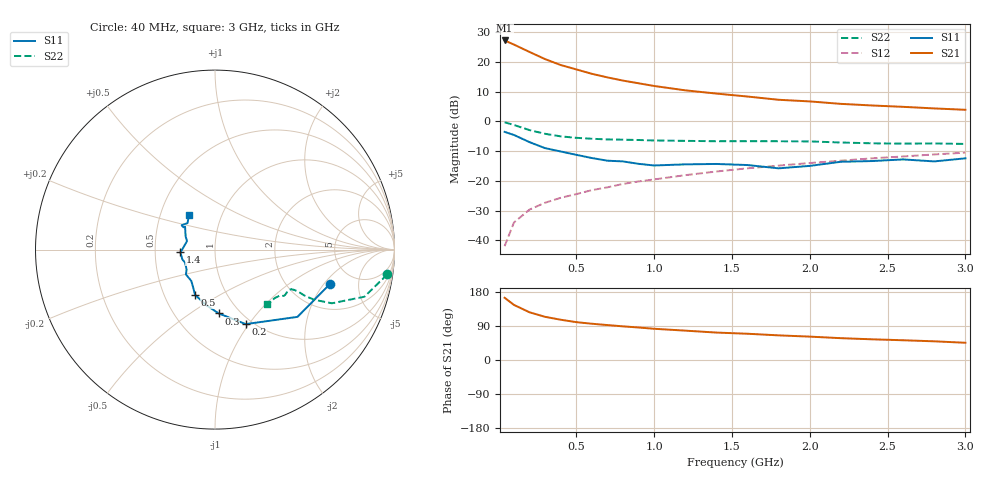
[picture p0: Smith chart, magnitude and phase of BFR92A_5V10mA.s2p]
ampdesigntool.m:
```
#!/usr/bin/octave -q
%    Discrete Transistor RF Design Script
%    Copyright (C) 2016  Martin Berglund
%
%    This program is free software: you can redistribute it and/or modify
%    it under the terms of the GNU General Public License as published by
%    the Free Software Foundation, either version 3 of the License, or
%    (at your option) any later version.
%
%    This program is distributed in the hope that it will be useful,
%    but WITHOUT ANY WARRANTY; without even the implied warranty of
%    MERCHANTABILITY or FITNESS FOR A PARTICULAR PURPOSE.  See the
%    GNU General Public License for more details.
%
%    You should have received a copy of the GNU General Public License
%    along with this program.  If not, see <http://www.gnu.org/licenses/>.

close all;
clear all;
warning ('off', 'Octave:broadcast'); % We use some broadcasting

%% Import data %%
filename = 'BFR92A_5V10mA.s2p';
startRow = 6;

fileID = fopen(filename);
A = dlmread(filename,'', startRow,0);
fclose(fileID);

Z0 = 50;
gNF 	 = 0.1 + 0.2i; % Optimal gS for minimized noise figure. (set to NA if not available)
NFmin  = 2.1;         % Minimum noise figure of transistor, attained at gS = gNF

F_=A(:,1)*1e6;
S11_=A(:,2).*exp(i*pi/180*A(:,3));
S21_=A(:,4).*exp(i*pi/180*A(:,5));
S12_=A(:,6).*exp(i*pi/180*A(:,7));
S22_=A(:,8).*exp(i*pi/180*A(:,9));

idx = 11;
F0 = F_ (idx);
S11= S11_(idx);
S12= S12_(idx);
S21= S21_(idx);
S22= S22_(idx);

%F0 = 1.9e9;
%S11= 0.869*exp(i*pi/180* -159);
%S12= 0.031*exp(i*pi/180* -9);
%S21= 4.250*exp(i*pi/180* 61);
%S22= 0.507*exp(i*pi/180* -117);
transistor_name = 'BFR92A';
transistor_VCE  = '5 V';
transistor_IC   = '10 mA';

fprintf ('## Designing an RF amplifier using the %s transistor ##\n',transistor_name);
fprintf ('The following parameters are used:\n');
if size(F_)>0
  fprintf('(%d S-parameters between %sHz - %sHz)\n', ...
          max(size(F_)), num2eng(min(F_)), num2eng(max(F_)));
endif        

fprintf ('VCE = %s,\t\tIC = %s,\nZ0 = %d Ohm,\t\tF0 = %sHz,\n',transistor_VCE,...
         transistor_IC, Z0, num2eng(F0));
if ~isna(gNF)
  fprintf('Gamma_opt = %s,\tNFmin = %.2f dB\n',num2str(gNF,3), NFmin);
endif
fprintf ('S11 = %s,\tS12 = %s,\nS21 = %s,\tS22 = %s.\n\n', num2str(S11,3),...
          num2str(S12,3),num2str(S21,3),num2str(S22,3));

clear filename startRow A fileID idx;

%% User Data
des_prio = 2;	% What to optimize for, See above.
set_gain = 10; 	% dB
NFmax    = 4;   % dB

%% What to display %%
plot_NF_C = 0;
plot_Gl_C = 0;
plot_Gs_C = 0;
if ~isna(gNF)
	plot_gNF =1;
endif

%% Calculate some useful variables %%
%Reflection coefficient looking into port 1 of the transistor with Zs=Z0
gIn = S11 + S12 * S21 / (1 - S22); 
%Reflection coefficient looking into port 2 of the transistor with Zl=Z0
gOut = S22 + S12 * S21 / (1 - S11);
% determinant of the scattering matrix
delta = S11 * S22 - S12 * S21;

% Load and source stability circles
ScL = conj(S22 - delta * conj(S11))/(abs(S22)^2 -abs(delta)^2);
ScS = conj(S11 - delta * conj(S22))/(abs(S11)^2 -abs(delta)^2);
SrL = abs(S12 * S21 / ( abs(S22)^2 - abs(delta)^2 ));
SrS = abs(S12 * S21 / ( abs(S11)^2 - abs(delta)^2 ));

% Rollet's stability condition
K = (1 - abs(S11)^2 - abs(S22)^2 + abs(delta)^2) / (2 * abs( S12 * S21));
% µ-test of stability
u = (1 - abs(S11)^2) / (abs(S22-delta*conj(S11)) + abs(S12*S21));

% Max gain
GSUmax = 10*log10(1 / (1 - abs(S11)^2));  % Max source matching gain, unilateral transistor.
GLUmax = 10*log10(1 / (1 - abs(S22)^2));  % Max load matching gain, unilateral transistor.
G0 = 10*log10(abs(S21)^2);		            % Transistor gain.
GTUmax = GSUmax + G0 + GLUmax;		        % Max Unilateral transducer gain.

% Conjugated impedances (maximizes gain at F0)
B1 = 1 +abs(S11)^2 - abs(S22)^2 + abs(delta)^2;
B2 = 1 +abs(S22)^2 - abs(S11)^2 + abs(delta)^2;
C1 = S11 - delta*conj(S22);
C2 = S22 - delta*conj(S11);
gSmax = (B1-B1/abs(B1)*sqrt(B1^2-4*abs(C1)^2))/2/C1;
gLmax = (B2-B2/abs(B2)*sqrt(B2^2-4*abs(C2)^2))/2/C2;

if ~isna(set_gain) && ~isnan(set_gain)  % Gain circles, unilateral transistor is assumed.
		Gmatch = set_gain - G0; % the sum GS and GL
    
		% Normalized gain factors
		gl_ = (10.^(linspace(GLUmax, Gmatch-GSUmax, 100) / 10)) ...
          / (10^(GLUmax/10 +0.00001));
		gs_ = (10.^((Gmatch - linspace(GLUmax, Gmatch-GSUmax, 100)) / 10)) ...
          /  (10^(GSUmax/10+0.00001));
    
		% Calculate gain circles
		Cl_ = (gl_ * conj(S22)) ./ (1 - (1 - gl_)*abs(S22)^2);
		Cs_ = (gs_ * conj(S11)) ./ (1 - (1 - gs_)*abs(S11)^2);
		Rl_ = (sqrt(1 -gl_)*(1 - abs(S22)^2)) ./ (1 - (1 - gl_)*abs(S22)^2);
		Rs_ = (sqrt(1 -gs_)*(1 - abs(S11)^2)) ./ (1 - (1 - gs_)*abs(S11)^2);
endif


if ~isna(gNF) % Circles of constant noise figure.
  rN = real((1+gNF)/(1-gNF)); % normalized noise resistance of the transistor at optimal noisefigure
  NF_ = logspace(log10(NFmin+0.0001),1,200); % vector of noise figures
  N_  = (NF_ - NFmin)/4/rN*abs(1+gNF)^2; %noise figure parameter
  Cf_ = gNF./(N_ +1);
  Rf_ = sqrt(N_.*(N_ + 1 - abs(gNF)^2))./(N_ + 1);
endif

%% Decide input and output matching impedances %%
switch des_prio
	case {1} % Maximum gain 
    fprintf ('Optimizing for maximum gain.\n\n');
		gS = gSmax;
		gL = gLmax;
	case {2} % Minimized noise, fixed gain
    fprintf ('Optimizing for low noise figure at a gain of %.1f dB.\n\n', set_gain);
		if find(Rs_ > abs(gNF - Cs_))
			gS = gNF;
			GS = 10*log10((1 - abs(gS)^2)/abs(1 - S11*gS)^2);
			gl = (10^((Gmatch - GS)/10))/(10^(GLUmax/10));
			i_maxbw = 1; 
			Cl_(i_maxbw) = (gl*conj(S22))/(1 - (1 - gl)*abs(S22)^2);
			Rl_(i_maxbw) = (sqrt(1 - gl)*(1 - abs(S22)^2))/(1 - (1 - gl)*abs(S22)^2);
			gL = (abs(Cl_(i_maxbw))-Rl_(i_maxbw)) *exp(i*angle(Cl_(i_maxbw)));
			plot_Gl_C = 1;
			plot_gNF = 0;
		else 
    			Coverlap = Rf_' > abs(abs(conj(Cf_')-Cs_)-Rs_); 
			i_minf = find(max(Coverlap'), 1, 'first');
			i_maxbw= find(Coverlap(i_minf,:), 1, 'first');
			gS = Cf_(i_minf) + Rf_(i_minf)*exp(i*angle(Cs_(i_maxbw) - Cf_(i_minf)));
			gL = (abs(Cl_(i_maxbw))-Rl_(i_maxbw)) *exp(i*angle(Cl_(i_maxbw)));
			plot_NF_C = 1;
			plot_Gl_C = 1;
			plot_Gs_C = 1;
		endif
	case {3} % Max Bandwidth, fixed Gain, unilateral transistor is assumed.
    fprintf ('Optimizing for bandwidth at a gain of %.1f dB.\n\n', set_gain);    
		% Maximize badwidth
		[~, i_maxbw] = min( abs(abs(Cl_)-Rl_).^2 + abs(abs(Cs_)-Rs_).^2);
    
		% Pick out the impedances
		gL = (abs(Cl_(i_maxbw))-Rl_(i_maxbw)) *exp(i*angle(Cl_(i_maxbw)));
		gS = (abs(Cs_(i_maxbw))-Rs_(i_maxbw)) *exp(i*angle(Cs_(i_maxbw)));
		plot_Gl_C = 1;
		plot_Gs_C = 1;
  case {4}
    fprintf ('Optimizing for gain with a NF of %.2f dB.\n\n', NFmax);
    N = (NFmax - NFmin)/4/rN*abs(1+gNF);
    Cf = gNF./(N + 1);
    Rf = sqrt(N.*(N + 1 - abs(gNF)^2))./(N + 1);
    if Rf > abs(Cf - gSmax)
	gS = gSmax;
    else % Bruteforse ...
        theta = linspace (0,2*pi,2000);
	ggNF_ = Rf*sin(theta) + i*Rf*cos(thetaa) + Cf;
	[~, i_ggNF] = max( 10*log10((1 - abs(ggNF_)^2)/abs(1 - S11*ggNF_)^2));
	gS = ggNF_(i_ggNF); 
    endif
    gL = gLmax;
  case {5}
    fprintf ('Optimizing for bandwidth with a NF of %.2f dB.\n\n', NFmax);
  case {6}
    fprintf ('Optimizing for gain with a gL of %sOhm.\n\n', num2eng(Z0*(1+gL)/(1-gL),3));
  case {7}
    fprintf ('Optimizing for noise figure with a gL of %sOhm.\n\n', num2eng(Z0*(1+gL)/(1-gL),3));
  case {8}
    fprintf ('Optimizing for bandwidth with a gL of %sOhm.\n\n', num2eng(Z0*(1+gL)/(1-gL),3));
  case {9}
    fprintf ('Optimizing for gain with a gS of %sOhm.\n\n', num2eng(Z0*(1+gS)/(1-gS),3));
  case {10}
    fprintf ('Optimizing for gain with a gS of %sOhm.\n\n', num2eng(Z0*(1+gS)/(1-gS),3));
	otherwise % Simple conjugate matching, assuming abs(S12)=0.
		gS = gSmax;
		gL = gLmax;
endswitch



% Create Matching
if size(F_) > 0
  [matchS, zS_] = create_match((1+gS)/(1-gS), Z0, F0, F_);
  [matchL, zL_] = create_match((1+gL)/(1-gL), Z0, F0, F_);
else
  [matchS, zS_] = create_match((1+gS)/(1-gS), Z0, F0);
  [matchL, zL_] = create_match((1+gL)/(1-gL), Z0, F0); 
endif

fprintf('Source circuit: %sOhm (as seen from the transistor)\n1. %s\n2. %s\n\n', ...
        num2eng(Z0*(1+gS)/(1-gS),3),matchS{1},matchS{2});
fprintf('Load circuit: %sOhm (as seen from the transistor)\n1. %s\n2. %s\n\n', ...
        num2eng(Z0*(1+gL)/(1-gL),3),matchL{1},matchL{2});
%% Calculate characteristics %%
% Gain
GL = 10*log10((1 - abs(gL)^2)/abs(1 - S22*gL)^2); % Output matching circuit gain 
GS = 10*log10((1 - abs(gS)^2)/abs(1 - S11*gS)^2); % Input matching circuit gain 
G  =  G0 + GL + GS;

fprintf('Transducer gain = %.2f dB (@ %sHz)\n',G,num2eng(F0));
fprintf('Source:     %.2f dB\n',GS);
fprintf('Transistor: %.2f dB\n',G0);
fprintf('Load:       %.2f dB\n',GL);

% Unilateral figure of merit
U = abs(S12)*abs(S12)*abs(S12)*abs(S12)/(1-abs(S11)^2)/(1-abs(S22)^2);
UErrU = 10*log10(1/(1-U)^2);
UErrL = 10*log10(1/(1+U)^2);
fprintf('Gain error introduced from the unilateral approximation:\n');
fprintf('%.3f < GT - GTU < %.3f dB\n\n',UErrL,UErrU);

%% Present frequency sweep %%
if size(F_) > 0
  % Presentation of bandwidth
  gS_ = squeeze((zS_- 1 )./(zS_ + 1));
  gL_ = squeeze((zL_- 1 )./(zL_ + 1));

  G0_ = 10*log10(abs(S21_).^2);
  GS_ = 10*log10((1 - abs(gS_).^2)./abs(1 - [S11_ S11_].*gS_).^2);
  GL_ = 10*log10((1 - abs(gL_).^2)./abs(1 - [S22_ S22_].*gL_).^2);
  % Max gain
  GSUmax_ = 10*log10(1 ./ (1 - abs(S11_).^2));
  GLUmax_ = 10*log10(1 ./ (1 - abs(S22_).^2));  
  GTUmax_ = GSUmax_ + G0_ + GLUmax_;
  
  G11_  = G0_ + GS_(:,1) + GL_(:,1);
  G12_  = G0_ + GS_(:,1) + GL_(:,2);
  G21_  = G0_ + GS_(:,2) + GL_(:,1);
  G22_  = G0_ + GS_(:,2) + GL_(:,2);
  
  
  figure
  x=[min(F_) max(F_)];
  plot(F_,G11_,'r','linewidth',4);
  hold on;
  plot(F_,G12_,'b','linewidth',4);
  plot(F_,G21_,'g','linewidth',4);
  plot(F_,G22_,'m','linewidth',4);
  legend('1>T>1','1>T>2','2>T>1','2>T>2')
  plot(x,[G+1 G+1],'k--',x,[G-1 G-1],'k--')
  text(F_(1),GTUmax_(1),'G_{TU_{max}}')
  plot(F_,GTUmax_,'k--')
  text(x(1),G,'\pm1dB')
  plot([F0 F0],[min(G11_)-10 max(G11_)+5],'k--')
  text(F0, min(G11_),['F_{0}=' num2eng(F0) 'Hz'])
  
  title('Gain using four different matching networks');
  xlabel('Frequency [Hz]');
  hold off
  
  % Stability presentation
  
  delta_ = S11_.*S22_ - S12_.*S21_;
  u_ = (1 - abs(S11_).^2)./(abs(S22_-delta*conj(S11_)) + abs(S12_.*S21_));
  % Stability circles
  ScL_ = conj(S22_ - delta_.*conj(S11_))./(abs(S22_).^2-abs(delta_).^2);
  SrL_ = abs(S12_.*S21_)./(abs(S22_).^2 -abs(delta_).^2);
  ScS_ = conj(S11 - delta_.*conj(S22_))./(abs(S11_).^2-abs(delta_).^2);
  SrS_ = abs(S12_.*S21_)./(abs(S11_).^2 - abs(delta_).^2);
  stableS = (abs(ScS_ - gS_)-SrS_ > 0);
  stableL = (abs(ScL_ - gL_)-SrL_ > 0);
  
  figure
  plot(F_,u_,'linewidth',4);
  hold on;
  plot(F_(~stableL(:,1)),u_(~stableL(:,1)),'*r','markersize',10,'marker','square');
  plot(F_(~stableL(:,2)),u_(~stableL(:,2)),'*r','markersize',10,'marker','+');
  plot(F_(~stableS(:,1)),u_(~stableS(:,1)),'*r','markersize',10,'marker','d');
  plot(F_(~stableS(:,2)),u_(~stableS(:,2)),'*r','markersize',10,'marker','o');
  %warning('off');
  legend('\mu test', 'Unstable Load (1)' , 'Unstable Load (2)' , ...
         'Unstable Source (1)' , 'Unstable Source (2)');
  %warning('on');
  plot(x,[1 1],'k--');
  text(x(1),1.01,'Unconditionally Stable');
  
  plot([F0 F0],[min(u_) max(u_)],'k--')
  text(F0, min(u_),['F_{0}=' num2eng(F0) 'Hz'])
  if find(stableS == 0 || stableL == 0)
    fprintf('Stability:\n******* Warning *******\n\n    Instabilities ');
    fprintf('found\n\n***********************\n');
  else
    fprintf('Stability:\nNo instabilities found in the frequency range ');
    fprintf('%sHz - %sHz\n',num2eng(min(F_)),num2eng(max(F_)));
  endif
else % No frequency sweep
  fprintf('Stability:\n');
  
endif

%Stability
fprintf('µ-test value: %.4f\n',u);
fprintf('K = %.4f\n|Δ| = %.4f\n\n',K,abs(delta));


%% Plot a Smith Chart %%
figure
theta = 0:pi/50:2*pi;
x=sin(theta);y=cos(theta);
plot(x,y,'k'); axis equal; hold on;
plot(0.5*x+0.5,0.5*y,'k--');
plot([1,-1],[0,0],'k');
plot(sin(theta/4+pi)+1,cos(theta/4+pi)+1,'k--')
plot(sin(theta/4+pi)+1,-cos(theta/4+pi)-1,'k--')
plot(0,0,'k.')
xlim([-1 1])
ylim([-1 1])
title(['Smith chart Z_{0}=' num2str(Z0) '\Omega']);

%Stability circles
plot(SrL*sin(theta)+real(ScL),SrL*cos(theta)+imag(ScL),'b')
text(real(ScL), imag(ScL), 'Load Stability','Color','b')
plot(SrS*sin(theta)+real(ScS),SrS*cos(theta)+imag(ScS),'r')
text(real(ScS), imag(ScS), 'Source Stability','Color','r')

if plot_NF_C 
  % plot NF circle
  plot(Rf_(i_minf)*sin(theta)+real(Cf_(i_minf)), Rf_(i_minf)*cos(theta)+imag(Cf_(i_minf)),'g--');
endif
if plot_gNF
  plot(real(gNF),imag(gNF),'c.') 
  text(real(gNF)+0.02,imag(gNF),'\Gamma_{NF_{opt}}')
endif
%Gain circles
if plot_Gl_C
  plot(Rl_(i_maxbw)*sin(theta)+real(Cl_(i_maxbw)), Rl_(i_maxbw)*cos(theta)+imag(Cl_(i_maxbw)),'b--');
endif
if plot_Gs_C
  plot(Rs_(i_maxbw)*sin(theta)+real(Cs_(i_maxbw)), Rs_(i_maxbw)*cos(theta)+imag(Cs_(i_maxbw)),'r--');
endif
% 
plot(real(gL),imag(gL),'b.')
text(real(gL)+0.02,imag(gL),'\Gamma_{L}')
plot(real(gS),imag(gS),'r.')
text(real(gS)+0.02,imag(gS),'\Gamma_{S}')
```
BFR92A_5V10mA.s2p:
! Filename:  BFR92AC.S2P  Version:  2.0
! NXP part #: BFR92A  Date: May 1990
! Bias condition: Vce=5V, Ic=10mA
#  MHz  S  MA  R  50
! Freq  S11  S21  S12  S22  !GUM [dB]
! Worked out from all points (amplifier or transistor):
!   21 points, 40 MHz to 3 GHz, reference 50 ohm
!   highest |S21| = 27.2 dB at 40 MHz (marker M1)
!   |S21| within 3 dB of that: start of sweep to 165.1 MHz
!   unconditionally stable (mu >= 1): 947.1 MHz to 2.494 GHz
!   at 300 MHz: K = 0.71, MSG = 24.2 dB, |S12| = -27.3 dB
!   at 1 GHz: K = 1.02, MAG = 14.9 dB, |S12| = -19.5 dB
!   at 3 GHz: K = 0.98, MSG = 7.2 dB, |S12| = -10.5 dB
!   S11 on the Smith chart (normalised r, x): 40 MHz: 3.34, -2.31; 200 MHz: 0.93, -0.97; 300 MHz: 0.80, -0.65; 500 MHz: 0.71, -0.39; 1.4 GHz: 0.68, -0.02; 3 GHz: 0.70, +0.28
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40  0.669 -16.6  23.02 164.2  0.008 79.9  0.97 -8.2
100  0.593 -39.2  19.63 145.4  0.02 72.1  0.873 -17.5
200  0.449 -67.6  14.75 125.9  0.033 68.7  0.716 -24.7
300  0.356 -86.7  11.18 113.9  0.043 66.2  0.62 -26.8
400  0.313 -99.2  8.899 106.3  0.052 68.0  0.562 -27.2
500  0.275 -113.9  7.512 99.9  0.06 67.4  0.531 -26.9
800  0.213 -139.5  4.868 88.8  0.089 72.4  0.494 -27.0
1000  0.182 -156.2  3.953 82.4  0.106 73.1  0.479 -27.4
1400  0.193 -175.5  2.945 72.4  0.144 73.3  0.465 -30.1
1600  0.185 -179.0  2.626 69.3  0.163 73.6  0.466 -31.4
3000  0.24 127.1  1.571 45.5  0.299 68.6  0.419 -46.0
